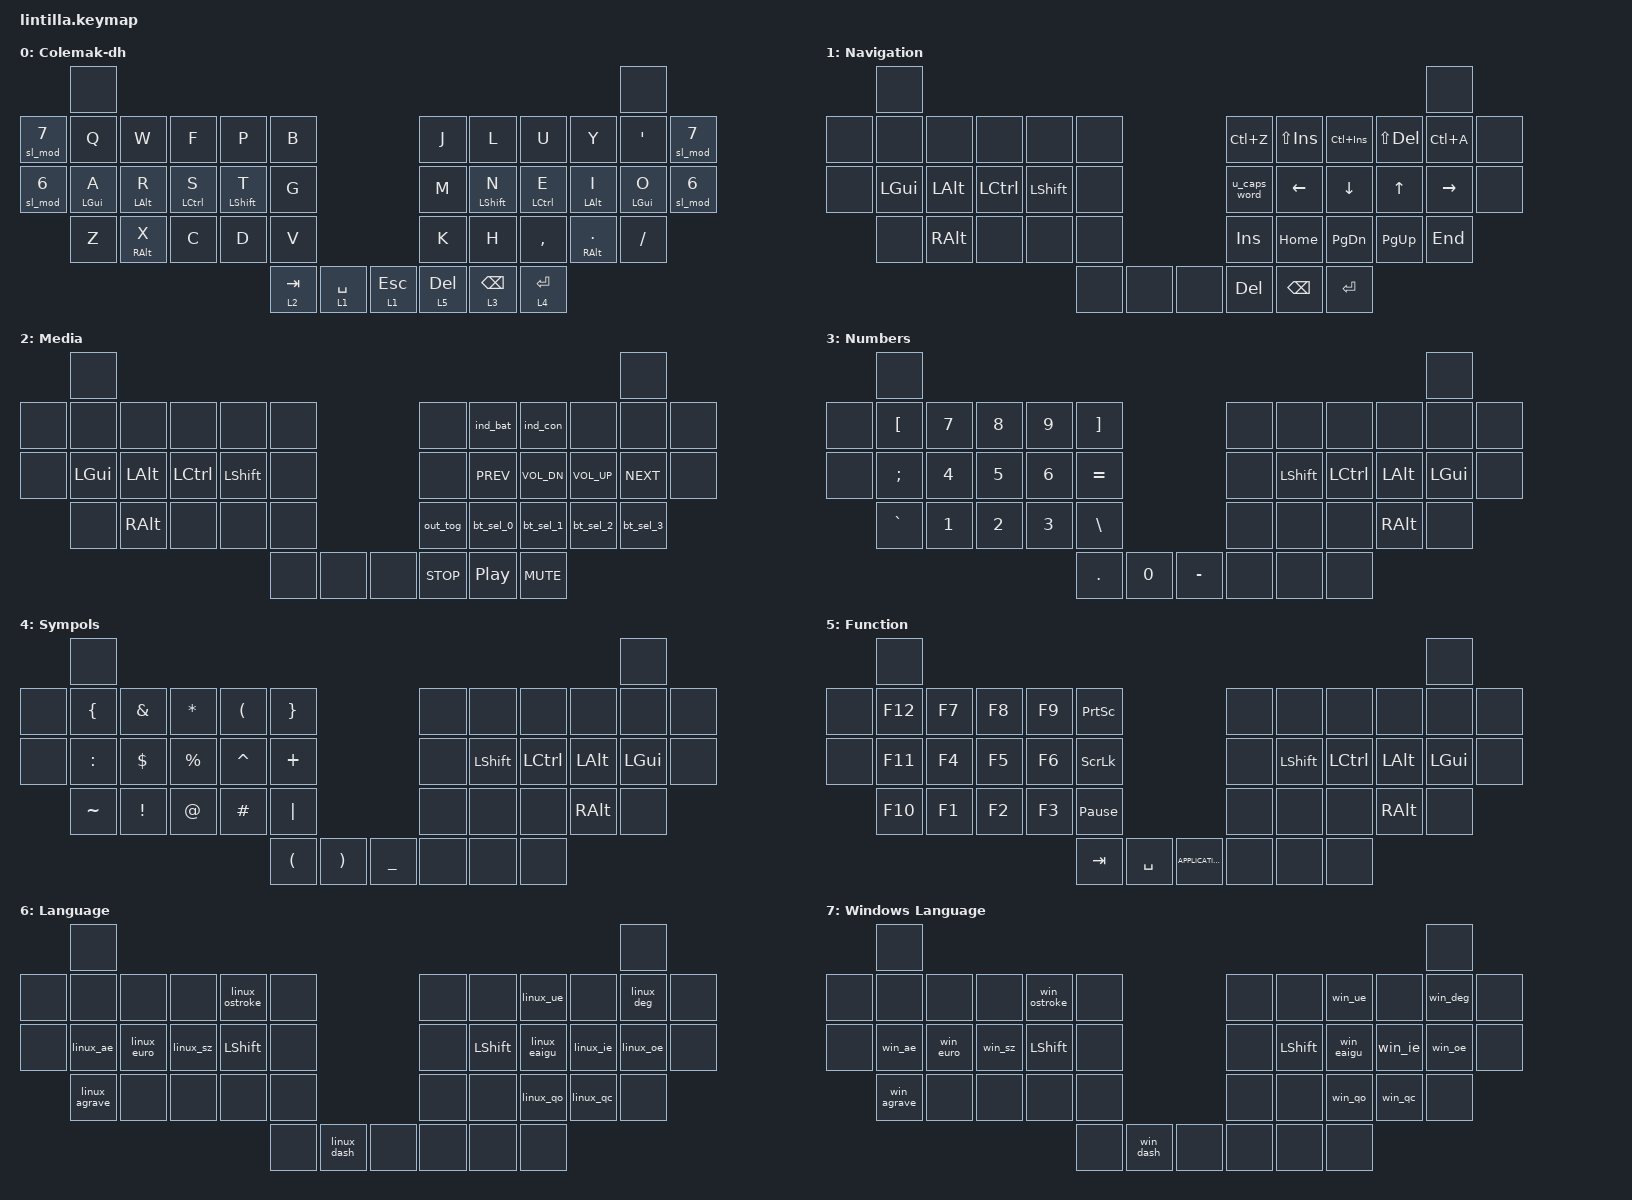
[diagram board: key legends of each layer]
#include <behaviors/rgbled_widget.dtsi>
#include <behaviors.dtsi>
#include <dt-bindings/zmk/bt.h>
#include <dt-bindings/zmk/keys.h>
#include <dt-bindings/zmk/outputs.h>
#include <dt-bindings/zmk/pointing.h>

/ {
    behaviors {
        hm: homerow_mod {
            compatible = "zmk,behavior-hold-tap";
            #binding-cells = <2>;
            tapping-term-ms = <200>;
            quick-tap-ms = <0>;
            flavor = "tap-preferred";
            bindings = <&kp>, <&kp>;
        };

        sl_mod: sl_mod {
            compatible = "zmk,behavior-sticky-key";
            bindings = <&mo>;
            #binding-cells = <1>;
            release-after-ms = <1000>;
            ignore-modifiers;
        };

        bt_sel_0: bt_select_0 {
            compatible = "zmk,behavior-mod-morph";
            bindings = <&bt_sel 0>, <&bt_clr 0>;

            #binding-cells = <0>;
            mods = <(MOD_RSFT|MOD_LSFT)>;
        };

        bt_sel_1: bt_select_1 {
            compatible = "zmk,behavior-mod-morph";
            bindings = <&bt_sel 1>, <&bt_clr 1>;

            #binding-cells = <0>;
            mods = <(MOD_RSFT|MOD_LSFT)>;
        };

        bt_sel_2: bt_select_2 {
            compatible = "zmk,behavior-mod-morph";
            bindings = <&bt_sel 2>, <&bt_clr 2>;

            #binding-cells = <0>;
            mods = <(MOD_RSFT|MOD_LSFT)>;
        };

        bt_sel_3: bt_select_3 {
            compatible = "zmk,behavior-mod-morph";
            bindings = <&bt_sel 3>, <&bt_clr 3>;

            #binding-cells = <0>;
            mods = <(MOD_RSFT|MOD_LSFT)>;
        };

        bt_sel_4: bt_select_4 {
            compatible = "zmk,behavior-mod-morph";
            bindings = <&bt_sel 4>, <&bt_clr 4>;

            #binding-cells = <0>;
            mods = <(MOD_RSFT|MOD_LSFT)>;
        };

        out_tog: out_toggle {
            compatible = "zmk,behavior-mod-morph";
            bindings = <&out OUT_TOG>, <&out OUT_USB>;

            #binding-cells = <0>;
            mods = <(MOD_LSFT|MOD_RSFT)>;
        };

        u_caps_word: u_caps_word {
            compatible = "zmk,behavior-mod-morph";
            bindings = <&caps_word>, <&kp CAPS>;

            #binding-cells = <0>;
            mods = <(MOD_RSFT|MOD_LSFT)>;
        };

        win_ae: win_ae {
            compatible = "zmk,behavior-mod-morph";
            bindings = <&win_ae_low>, <&win_ae_up>;

            #binding-cells = <0>;
            mods = <(MOD_LSFT|MOD_RSFT)>;
        };

        win_ie: win_ie {
            compatible = "zmk,behavior-mod-morph";
            bindings = <&win_ie_low>, <&win_ie_up>;

            #binding-cells = <0>;
            mods = <(MOD_LSFT|MOD_RSFT)>;
        };

        win_oe: win_oe {
            compatible = "zmk,behavior-mod-morph";
            bindings = <&win_oe_low>, <&win_oe_up>;

            #binding-cells = <0>;
            mods = <(MOD_LSFT|MOD_RSFT)>;
        };

        win_ue: win_ue {
            compatible = "zmk,behavior-mod-morph";
            bindings = <&win_ue_low>, <&win_ue_up>;

            #binding-cells = <0>;
            mods = <(MOD_LSFT|MOD_RSFT)>;
        };

        win_agrave: win_agrave {
            compatible = "zmk,behavior-mod-morph";
            bindings = <&win_agrave_low>, <&win_agrave_up>;

            #binding-cells = <0>;
            mods = <(MOD_LSFT|MOD_RSFT)>;
        };

        win_eaigu: win_eaigu {
            compatible = "zmk,behavior-mod-morph";
            bindings = <&win_eaigu_low>, <&win_eaigu_up>;

            #binding-cells = <0>;
            mods = <(MOD_LSFT|MOD_RSFT)>;
        };

        win_dash: win_dash {
            compatible = "zmk,behavior-mod-morph";
            bindings = <&win_emdash>, <&win_endash>;

            #binding-cells = <0>;
            mods = <(MOD_LSFT|MOD_RSFT)>;
        };

        linux_ae: linux_ae {
            compatible = "zmk,behavior-mod-morph";
            bindings = <&linux_ae_low>, <&linux_ae_up>;

            #binding-cells = <0>;
            mods = <(MOD_LSFT|MOD_RSFT)>;
        };

        linux_ie: linux_ie {
            compatible = "zmk,behavior-mod-morph";
            bindings = <&linux_ie_low>, <&linux_ie_up>;

            #binding-cells = <0>;
            mods = <(MOD_LSFT|MOD_RSFT)>;
        };

        linux_oe: linux_oe {
            compatible = "zmk,behavior-mod-morph";
            bindings = <&linux_oe_low>, <&linux_oe_up>;

            #binding-cells = <0>;
            mods = <(MOD_LSFT|MOD_RSFT)>;
        };

        linux_ue: linux_ue {
            compatible = "zmk,behavior-mod-morph";
            bindings = <&linux_ue_low>, <&linux_ue_up>;

            #binding-cells = <0>;
            mods = <(MOD_LSFT|MOD_RSFT)>;
        };

        linux_agrave: linux_agrave {
            compatible = "zmk,behavior-mod-morph";
            bindings = <&linux_agrave_low>, <&linux_agrave_up>;

            #binding-cells = <0>;
            mods = <(MOD_LSFT|MOD_RSFT)>;
        };

        linux_eaigu: linux_eaigu {
            compatible = "zmk,behavior-mod-morph";
            bindings = <&linux_eaigu_low>, <&linux_eaigu_up>;

            #binding-cells = <0>;
            mods = <(MOD_LSFT|MOD_RSFT)>;
        };

        linux_dash: linux_dash {
            compatible = "zmk,behavior-mod-morph";
            bindings = <&linux_emdash>, <&linux_endash>;

            #binding-cells = <0>;
            mods = <(MOD_LSFT|MOD_RSFT)>;
        };
    };

    conditional_layers { compatible = "zmk,conditional-layers"; };

    macros {
        bt_sel: bt_select {
            compatible = "zmk,behavior-macro-one-param";
            #binding-cells = <1>;
            bindings = <&out OUT_BLE &macro_param_1to2 &bt BT_SEL MACRO_PLACEHOLDER>;
        };

        bt_clr: bt_clear {
            compatible = "zmk,behavior-macro-one-param";
            #binding-cells = <1>;
            bindings = <&macro_param_1to2 &bt BT_SEL MACRO_PLACEHOLDER &bt BT_CLR>;
        };

        win_ellipsis: win_ellipsis {
            compatible = "zmk,behavior-macro";
            #binding-cells = <0>;
            bindings =
                <&macro_press>,
                <&kp LALT>,
                <&macro_tap>,
                <&kp KP_N0 &kp KP_N1 &kp KP_N3 &kp KP_N3>,
                <&macro_release>,
                <&kp LALT>;
        };

        win_ae_low: win_ae_low {
            compatible = "zmk,behavior-macro";
            #binding-cells = <0>;
            bindings =
                <&macro_press>,
                <&kp LALT>,
                <&macro_tap>,
                <&kp KP_N0 &kp KP_N2 &kp KP_N2 &kp KP_N8>,
                <&macro_release>,
                <&kp LALT>;
        };

        win_ae_up: win_ae_up {
            compatible = "zmk,behavior-macro";
            #binding-cells = <0>;
            bindings =
                <&macro_release>,
                <&kp LSHFT>,
                <&macro_press>,
                <&kp LALT>,
                <&macro_tap>,
                <&kp KP_N0 &kp KP_N1 &kp KP_N9 &kp KP_N6>,
                <&macro_release>,
                <&kp LALT>;
        };

        win_oe_low: win_oe_low {
            compatible = "zmk,behavior-macro";
            #binding-cells = <0>;
            bindings =
                <&macro_press>,
                <&kp LALT>,
                <&macro_tap>,
                <&kp KP_N0 &kp KP_N2 &kp KP_N4 &kp KP_N6>,
                <&macro_release>,
                <&kp LALT>;
        };

        win_oe_up: win_oe_up {
            compatible = "zmk,behavior-macro";
            #binding-cells = <0>;
            bindings =
                <&macro_release>,
                <&kp LSHFT>,
                <&macro_press>,
                <&kp LALT>,
                <&macro_tap>,
                <&kp KP_N0 &kp KP_N2 &kp KP_N1 &kp KP_N4>,
                <&macro_release>,
                <&kp LALT>;
        };

        win_ue_low: win_ue_low {
            compatible = "zmk,behavior-macro";
            #binding-cells = <0>;
            bindings =
                <&macro_press>,
                <&kp LALT>,
                <&macro_tap>,
                <&kp KP_N0 &kp KP_N2 &kp KP_N5 &kp KP_N2>,
                <&macro_release>,
                <&kp LALT>;
        };

        win_ue_up: win_ue_up {
            compatible = "zmk,behavior-macro";
            #binding-cells = <0>;
            bindings =
                <&macro_release>,
                <&kp LSHFT>,
                <&macro_press>,
                <&kp LALT>,
                <&macro_tap>,
                <&kp KP_N0 &kp KP_N2 &kp KP_N2 &kp KP_N0>,
                <&macro_release>,
                <&kp LALT>;
        };

        win_ie_low: win_ie_low {
            compatible = "zmk,behavior-macro";
            #binding-cells = <0>;
            bindings =
                <&macro_press>,
                <&kp LALT>,
                <&macro_tap>,
                <&kp KP_N0 &kp KP_N2 &kp KP_N3 &kp KP_N9>,
                <&macro_release>,
                <&kp LALT>;
        };

        win_ie_up: win_ie_up {
            compatible = "zmk,behavior-macro";
            #binding-cells = <0>;
            bindings =
                <&macro_release>,
                <&kp LSHFT>,
                <&macro_press>,
                <&kp LALT>,
                <&macro_tap>,
                <&kp KP_N0 &kp KP_N2 &kp KP_N0 &kp KP_N7>,
                <&macro_release>,
                <&kp LALT>;
        };

        win_eaigu_low: win_eaigu_low {
            compatible = "zmk,behavior-macro";
            #binding-cells = <0>;
            bindings =
                <&macro_press>,
                <&kp LALT>,
                <&macro_tap>,
                <&kp KP_N0 &kp KP_N2 &kp KP_N3 &kp KP_N3>,
                <&macro_release>,
                <&kp LALT>;
        };

        win_eaigu_up: win_eaigu_up {
            compatible = "zmk,behavior-macro";
            #binding-cells = <0>;
            bindings =
                <&macro_release>,
                <&kp LSHFT>,
                <&macro_press>,
                <&kp LALT>,
                <&macro_tap>,
                <&kp KP_N0 &kp KP_N2 &kp KP_N0 &kp KP_N1>,
                <&macro_release>,
                <&kp LALT>;
        };

        win_agrave_low: win_agrave_low {
            compatible = "zmk,behavior-macro";
            #binding-cells = <0>;
            bindings =
                <&macro_press>,
                <&kp LALT>,
                <&macro_tap>,
                <&kp KP_N0 &kp KP_N2 &kp KP_N2 &kp KP_N4>,
                <&macro_release>,
                <&kp LALT>;
        };

        win_agrave_up: win_agrave_up {
            compatible = "zmk,behavior-macro";
            #binding-cells = <0>;
            bindings =
                <&macro_release>,
                <&kp LSHFT>,
                <&macro_press>,
                <&kp LALT>,
                <&macro_tap>,
                <&kp KP_N0 &kp KP_N1 &kp KP_N9 &kp KP_N2>,
                <&macro_release>,
                <&kp LALT>;
        };

        win_sz: win_sz {
            compatible = "zmk,behavior-macro";
            #binding-cells = <0>;
            bindings =
                <&macro_press>,
                <&kp LALT>,
                <&macro_tap>,
                <&kp KP_N0 &kp KP_N2 &kp KP_N2 &kp KP_N3>,
                <&macro_release>,
                <&kp LALT>;
        };

        win_ostroke: win_ostroke {
            compatible = "zmk,behavior-macro";
            #binding-cells = <0>;
            bindings =
                <&macro_press>,
                <&kp LALT>,
                <&macro_tap>,
                <&kp KP_N0 &kp KP_N2 &kp KP_N4 &kp KP_N8>,
                <&macro_release>,
                <&kp LALT>;
        };

        win_emdash: win_emdash {
            compatible = "zmk,behavior-macro";
            #binding-cells = <0>;
            bindings =
                <&macro_press>,
                <&kp LALT>,
                <&macro_tap>,
                <&kp KP_N0 &kp KP_N1 &kp KP_N5 &kp KP_N1>,
                <&macro_release>,
                <&kp LALT>;
        };

        win_endash: win_endash {
            compatible = "zmk,behavior-macro";
            #binding-cells = <0>;
            bindings =
                <&macro_release>,
                <&kp LSHFT>,
                <&macro_press>,
                <&kp LALT>,
                <&macro_tap>,
                <&kp KP_N0 &kp KP_N1 &kp KP_N5 &kp KP_N0>,
                <&macro_release>,
                <&kp LALT>;
        };

        win_euro: win_euro {
            compatible = "zmk,behavior-macro";
            #binding-cells = <0>;
            bindings =
                <&macro_press>,
                <&kp LALT>,
                <&macro_tap>,
                <&kp KP_N0 &kp KP_N1 &kp KP_N2 &kp KP_N8>,
                <&macro_release>,
                <&kp LALT>;
        };

        win_deg: win_deg {
            compatible = "zmk,behavior-macro";
            #binding-cells = <0>;
            bindings =
                <&macro_press>,
                <&kp LALT>,
                <&macro_tap>,
                <&kp KP_N0 &kp KP_N1 &kp KP_N7 &kp KP_N6>,
                <&macro_release>,
                <&kp LALT>;
        };

        win_qo: win_qo {
            compatible = "zmk,behavior-macro";
            #binding-cells = <0>;
            bindings =
                <&macro_press>,
                <&kp LALT>,
                <&macro_tap>,
                <&kp KP_N0 &kp KP_N1 &kp KP_N7 &kp KP_N1>,
                <&macro_release>,
                <&kp LALT>;
        };

        win_qc: win_qc {
            compatible = "zmk,behavior-macro";
            #binding-cells = <0>;
            bindings =
                <&macro_press>,
                <&kp LALT>,
                <&macro_tap>,
                <&kp KP_N0 &kp KP_N1 &kp KP_N8 &kp KP_N7>,
                <&macro_release>,
                <&kp LALT>;
        };

        linux_ellipsis: linux_ellipsis {
            compatible = "zmk,behavior-macro";
            #binding-cells = <0>;
            bindings = <&macro_tap>, <&kp RALT &kp DOT &kp DOT>;
        };

        linux_ae_low: linux_ae_low {
            compatible = "zmk,behavior-macro";
            #binding-cells = <0>;
            bindings = <&macro_tap>, <&kp RALT &kp A &kp DQT>;
        };

        linux_ae_up: linux_ae_up {
            compatible = "zmk,behavior-macro";
            #binding-cells = <0>;
            bindings =
                <&macro_release>,
                <&kp LSHFT>,
                <&macro_tap>,
                <&kp RALT &kp LS(A) &kp DQT>;
        };

        linux_oe_low: linux_oe_low {
            compatible = "zmk,behavior-macro";
            #binding-cells = <0>;
            bindings = <&macro_tap>, <&kp RALT &kp O &kp DQT>;
        };

        linux_oe_up: linux_oe_up {
            compatible = "zmk,behavior-macro";
            #binding-cells = <0>;
            bindings =
                <&macro_release>,
                <&kp LSHFT>,
                <&macro_tap>,
                <&kp RALT &kp LS(O) &kp DQT>;
        };

        linux_ue_low: linux_ue_low {
            compatible = "zmk,behavior-macro";
            #binding-cells = <0>;
            bindings = <&macro_tap>, <&kp RALT &kp U &kp DQT>;
        };

        linux_ue_up: linux_ue_up {
            compatible = "zmk,behavior-macro";
            #binding-cells = <0>;
            bindings =
                <&macro_release>,
                <&kp LSHFT>,
                <&macro_tap>,
                <&kp RALT &kp LS(U) &kp DQT>;
        };

        linux_ie_low: linux_ie_low {
            compatible = "zmk,behavior-macro";
            #binding-cells = <0>;
            bindings = <&macro_tap>, <&kp RALT &kp I &kp DQT>;
        };

        linux_ie_up: linux_ie_up {
            compatible = "zmk,behavior-macro";
            #binding-cells = <0>;
            bindings =
                <&macro_release>,
                <&kp LSHFT>,
                <&macro_tap>,
                <&kp RALT &kp LS(I) &kp DQT>;
        };

        linux_eaigu_low: linux_eaigu_low {
            compatible = "zmk,behavior-macro";
            #binding-cells = <0>;
            bindings = <&macro_tap>, <&kp RALT &kp E &kp SQT>;
        };

        linux_eaigu_up: linux_eaigu_up {
            compatible = "zmk,behavior-macro";
            #binding-cells = <0>;
            bindings =
                <&macro_release>,
                <&kp LSHFT>,
                <&macro_tap>,
                <&kp RALT &kp LS(E) &kp SQT>;
        };

        linux_agrave_low: linux_agrave_low {
            compatible = "zmk,behavior-macro";
            #binding-cells = <0>;
            bindings = <&macro_tap>, <&kp RALT &kp A &kp GRAVE>;
        };

        linux_agrave_up: linux_agrave_up {
            compatible = "zmk,behavior-macro";
            #binding-cells = <0>;
            bindings =
                <&macro_release>,
                <&kp LSHFT>,
                <&macro_tap>,
                <&kp RALT &kp LS(A) &kp GRAVE>;
        };

        linux_sz: linux_sz {
            compatible = "zmk,behavior-macro";
            #binding-cells = <0>;
            bindings = <&macro_tap>, <&kp RALT &kp S &kp S>;
        };

        linux_ostroke: linux_ostroke {
            compatible = "zmk,behavior-macro";
            #binding-cells = <0>;
            bindings = <&macro_tap>, <&kp RALT &kp O &kp FSLH>;
        };

        linux_emdash: linux_emdash {
            compatible = "zmk,behavior-macro";
            #binding-cells = <0>;
            bindings = <&macro_tap>, <&kp RALT &kp MINUS &kp MINUS &kp MINUS>;
        };

        linux_endash: linux_endash {
            compatible = "zmk,behavior-macro";
            #binding-cells = <0>;
            bindings =
                <&macro_release>,
                <&kp LSHFT>,
                <&macro_tap>,
                <&kp RALT &kp MINUS &kp MINUS &kp DOT>;
        };

        linux_euro: linux_euro {
            compatible = "zmk,behavior-macro";
            #binding-cells = <0>;
            bindings = <&macro_tap>, <&kp RALT &kp E &kp EQUAL>;
        };

        linux_deg: linux_deg {
            compatible = "zmk,behavior-macro";
            #binding-cells = <0>;
            bindings = <&macro_tap>, <&kp RALT &kp O &kp O>;
        };

        linux_qo: linux_qo {
            compatible = "zmk,behavior-macro";
            #binding-cells = <0>;
            bindings = <&macro_tap>, <&kp RALT &kp LT &kp LT>;
        };

        linux_qc: linux_qc {
            compatible = "zmk,behavior-macro";
            #binding-cells = <0>;
            bindings = <&macro_tap>, <&kp RALT &kp GT &kp GT>;
        };
    };

    combos {
        compatible = "zmk,combos";

        combo_LBKT {
            bindings = <&hm LC(LSHFT) LBKT>;
            key-positions = <17 18>;
            layers = <0>;
            timeout-ms = <20>;
        };

        combo_minus {
            bindings = <&hm LC(LSHFT) MINUS>;
            key-positions = <21 22>;
            layers = <0>;
            timeout-ms = <20>;
        };

        combo_elipse {
            bindings = <&linux_ellipsis>;
            key-positions = <33 34>;
            layers = <0>;
        };

        combo_mb4 {
            bindings = <&mkp MB4>;
            key-positions = <21 22>;
            layers = <1>;
        };

        combo_mb5 {
            bindings = <&mkp MB5>;
            key-positions = <23 24>;
            layers = <1>;
        };

        combo_winelipse {
            bindings = <&win_ellipsis>;
            key-positions = <33 34 32>;
            layers = <0>;
        };
    };

    keymap {
        compatible = "zmk,keymap";

        alphas {
            bindings = <
           &none                                                                                                                                                        &none
&sl_mod 7  &kp Q       &kp W       &kp F        &kp P        &kp B                                                   &kp J      &kp L        &kp U        &kp Y         &kp SQT     &sl_mod 7
&sl_mod 6  &hm LGUI A  &hm LALT R  &hm LCTRL S  &hm LSHFT T  &kp G                                                   &kp M      &hm LSHFT N  &hm LCTRL E  &hm LALT I    &hm LGUI O  &sl_mod 6
           &kp Z       &hm RALT X  &kp C        &kp D        &kp V                                                   &kp K      &kp H        &kp COMMA    &hm RALT DOT  &kp FSLH
                                                             &lt 2 TAB  &lt 1 SPC  &lt 1 ESC  &lt 5 DEL  &lt 3 BSPC  &lt 4 RET
            >;

            label = "Colemak-dh";
        };

        nav {
            bindings = <
       &none                                                                                                                                  &none
&none  &none     &none     &none      &none      &none                                   &kp LC(Z)     &kp LS(INS)  &kp LC(INS)  &kp LS(DEL)  &kp LC(A)  &none
&none  &kp LGUI  &kp LALT  &kp LCTRL  &kp LSHFT  &none                                   &u_caps_word  &kp LEFT     &kp DOWN     &kp UP       &kp RIGHT  &none
       &none     &kp RALT  &none      &none      &none                                   &kp INS       &kp HOME     &kp PG_DN    &kp PG_UP    &kp END
                                                 &none  &none  &none  &kp DEL  &kp BSPC  &kp RET
            >;

            label = "Navigation";
        };

        media {
            bindings = <
       &none                                                                                                                                    &none
&none  &none     &none     &none      &none      &none                                      &none       &ind_bat    &ind_con      &none         &none       &none
&none  &kp LGUI  &kp LALT  &kp LCTRL  &kp LSHFT  &none                                      &none       &kp C_PREV  &kp C_VOL_DN  &kp C_VOL_UP  &kp C_NEXT  &none
       &none     &kp RALT  &none      &none      &none                                      &out_tog    &bt_sel_0   &bt_sel_1     &bt_sel_2     &bt_sel_3
                                                 &none  &none  &none  &kp C_STOP  &kp C_PP  &kp C_MUTE
            >;

            label = "Media";
        };

        num {
            bindings = <
       &none                                                                                                                 &none
&none  &kp LBKT   &kp N7  &kp N8  &kp N9  &kp RBKT                                    &none  &none      &none      &none     &none     &none
&none  &kp SEMI   &kp N4  &kp N5  &kp N6  &kp EQUAL                                   &none  &kp LSHFT  &kp LCTRL  &kp LALT  &kp LGUI  &none
       &kp GRAVE  &kp N1  &kp N2  &kp N3  &kp BSLH                                    &none  &none      &none      &kp RALT  &none
                                          &kp DOT    &kp N0  &kp MINUS  &none  &none  &none
            >;

            label = "Numbers";
        };

        sym {
            bindings = <
       &none                                                                                                                          &none
&none  &kp LBRC   &kp AMPS  &kp ASTRK  &kp LPAR   &kp RBRC                                     &none  &none      &none      &none     &none     &none
&none  &kp COLON  &kp DLLR  &kp PRCNT  &kp CARET  &kp PLUS                                     &none  &kp LSHFT  &kp LCTRL  &kp LALT  &kp LGUI  &none
       &kp TILDE  &kp EXCL  &kp AT     &kp HASH   &kp PIPE                                     &none  &none      &none      &kp RALT  &none
                                                  &kp LPAR  &kp RPAR  &kp UNDER  &none  &none  &none
            >;

            label = "Sympols";
        };

        fun {
            bindings = <
       &none                                                                                                                              &none
&none  &kp F12  &kp F7  &kp F8  &kp F9  &kp PSCRN                                                  &none  &none      &none      &none     &none     &none
&none  &kp F11  &kp F4  &kp F5  &kp F6  &kp SLCK                                                   &none  &kp LSHFT  &kp LCTRL  &kp LALT  &kp LGUI  &none
       &kp F10  &kp F1  &kp F2  &kp F3  &kp PAUSE_BREAK                                            &none  &none      &none      &kp RALT  &none
                                        &kp TAB          &kp SPC  &kp K_APPLICATION  &none  &none  &none
            >;

            label = "Function";
        };

        lang {
            bindings = <
       &none                                                                                                                                      &none
&none  &none          &none        &none      &linux_ostroke  &none                                    &none  &none      &linux_ue     &none      &linux_deg  &none
&none  &linux_ae      &linux_euro  &linux_sz  &kp LSHFT       &none                                    &none  &kp LSHFT  &linux_eaigu  &linux_ie  &linux_oe   &none
       &linux_agrave  &none        &none      &none           &none                                    &none  &none      &linux_qo     &linux_qc  &none
                                                              &none  &linux_dash  &none  &none  &none  &none
            >;

            label = "Language";
        };

        win_lang {
            bindings = <
       &none                                                                                                                        &none
&none  &none        &none      &none    &win_ostroke  &none                                  &none  &none      &win_ue     &none    &win_deg  &none
&none  &win_ae      &win_euro  &win_sz  &kp LSHFT     &none                                  &none  &kp LSHFT  &win_eaigu  &win_ie  &win_oe   &none
       &win_agrave  &none      &none    &none         &none                                  &none  &none      &win_qo     &win_qc  &none
                                                      &none  &win_dash  &none  &none  &none  &none
            >;

            label = "Windows Language";
        };
    };
};

// vim: expandtab softtabstop=4 shiftwidth=4 filetype=dts
